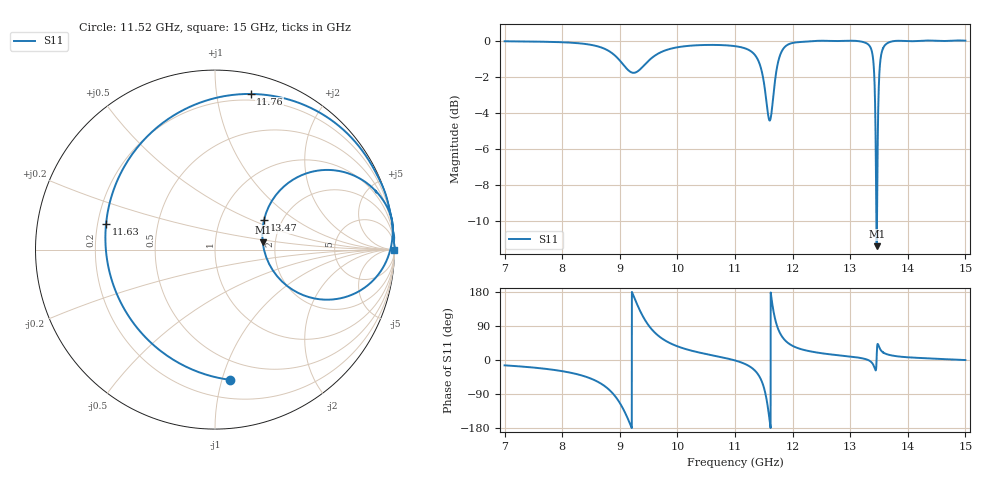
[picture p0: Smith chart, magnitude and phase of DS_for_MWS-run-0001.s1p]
! TOUCHSTONE file generated by CST DESIGN STUDIO
! Date and time: Mon Feb 10 16:42:47 2025
! Project name: C:\Work\MatlabApps\UnitCellType2OptimizationMatlab\CST\unitcell.cst
! Tree item: Tasks\Sweep1\SPara1\S-Parameters
! Header version: 2024
! Port assignment regex: !\s*Touchstone port\s*([0-9]+)\s*=\s*(CST MWS port|CST DES external port|CST DES block port)\s*(.+)\s* \(\"(.*)\"\)(\s*mode\s*([0-9]+))?.*
! Touchstone port assignment:
! Touchstone port 1 = CST DES external port 1 ("")
# GHz S MA R 50
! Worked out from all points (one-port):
!   4001 points, 7 GHz to 15 GHz, reference 50 ohm
!   lowest |S11| = -11.4 dB at 13.46 GHz (marker M1), VSWR 1.73, Z = 85.8 + j7.47 ohm
!   |S11| at or under -10 dB: 13.45375 GHz to 13.46579 GHz (12.04 MHz wide, 0.0894 % of centre)
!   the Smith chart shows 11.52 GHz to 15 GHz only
!   S11 on the Smith chart (normalised r, x): 11.52 GHz: 0.34, -1.06; 11.63 GHz: 0.23, +0.11; 11.76 GHz: 0.15, +1.24; 13.47 GHz: 1.62, +0.59; 15 GHz: open
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7  0.996 -14.1
8  0.9898 -29.4
8.618  0.964 -57.5
9  0.8807 -113.3
9.214  0.8151 178.2
9.332  0.8269 136.1
9.436  0.859 105.9
9.684  0.9239 62.2
10  0.9585 36.1
11  0.9654 -1.2
11.356  0.908 -29.5
11.446  0.8437 -49.9
11.52  0.7307 -83.3
11.57  0.6299 -124.3
11.63  0.6238 166.6
11.694  0.7729 109.7
11.762  0.8896 77.1
11.862  0.9595 53.1
12  0.9854 37.3
13  0.9996 9.3
13.354  0.9564 -3.9
13.416  0.8103 -17.8
13.46  0.2687 8.6
13.466  0.3191 31.2
13.51  0.8299 31.6
13.594  0.967 18.0
14  0.9968 7.1
15  0.9998 -0.1
